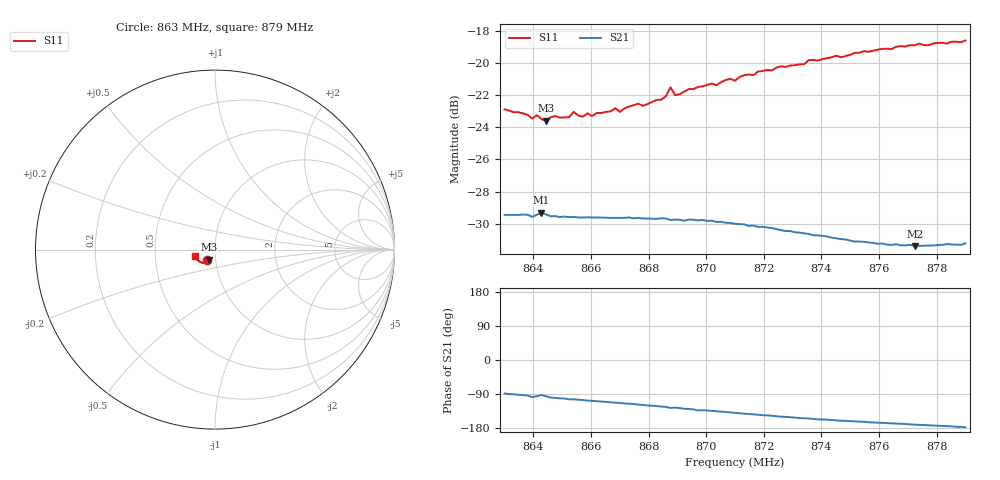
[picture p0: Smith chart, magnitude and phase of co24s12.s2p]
# HZ S RI R 50
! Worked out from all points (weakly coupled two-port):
!   101 points, 863 MHz to 879 MHz, reference 50 ohm
!   highest |S21| = -29.31 dB at 864.28 MHz (marker M1); lowest = -31.4 dB at 877.24 MHz (marker M2)
!   lowest |S11| = -23.6 dB at 864.44 MHz (marker M3), VSWR 1.14, Z = 46.3 - j5.22 ohm
!   |S11| at or under -10 dB: start of sweep to end of sweep
!   S12 and S22 are empty: the file has one direction only
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8.63e8  -0.0442 -0.0566  0.000904 -0.0337  0 0  0 0
8.6396e8  -0.0391 -0.0547  -0.00464 -0.0329  0 0  0 0
8.6412e8  -0.0394 -0.0565  -0.00333 -0.0335  0 0  0 0
8.6428e8  -0.0326 -0.0585  -0.00136 -0.0342  0 0  0 0
8.6444e8  -0.0352 -0.0561  -0.00348 -0.0336  0 0  0 0
8.6476e8  -0.038 -0.057  -0.00587 -0.0329  0 0  0 0
8.6524e8  -0.0366 -0.0572  -0.00796 -0.0322  0 0  0 0
8.654e8  -0.0395 -0.0584  -0.00792 -0.0323  0 0  0 0
8.6572e8  -0.0354 -0.0582  -0.00891 -0.0318  0 0  0 0
8.6684e8  -0.0358 -0.063  -0.0126 -0.0305  0 0  0 0
8.67e8  -0.0351 -0.0612  -0.013 -0.0303  0 0  0 0
8.6764e8  -0.0398 -0.0634  -0.0153 -0.0292  0 0  0 0
8.6844e8  -0.0374 -0.0673  -0.0179 -0.0276  0 0  0 0
8.6876e8  -0.0469 -0.0698  -0.0193 -0.0261  0 0  0 0
8.6892e8  -0.0385 -0.0696  -0.019 -0.0265  0 0  0 0
8.7084e8  -0.0511 -0.0734  -0.0238 -0.0211  0 0  0 0
8.71e8  -0.0483 -0.0738  -0.024 -0.0205  0 0  0 0
8.7132e8  -0.0525 -0.0753  -0.0247 -0.0195  0 0  0 0
8.7372e8  -0.0706 -0.0742  -0.0264 -0.0122  0 0  0 0
8.7644e8  -0.0926 -0.0608  -0.0265 -0.00601  0 0  0 0
8.7724e8  -0.1002 -0.0537  -0.0265 -0.00442  0 0  0 0
8.79e8  -0.112 -0.0363  -0.0274 -0.00108  0 0  0 0
